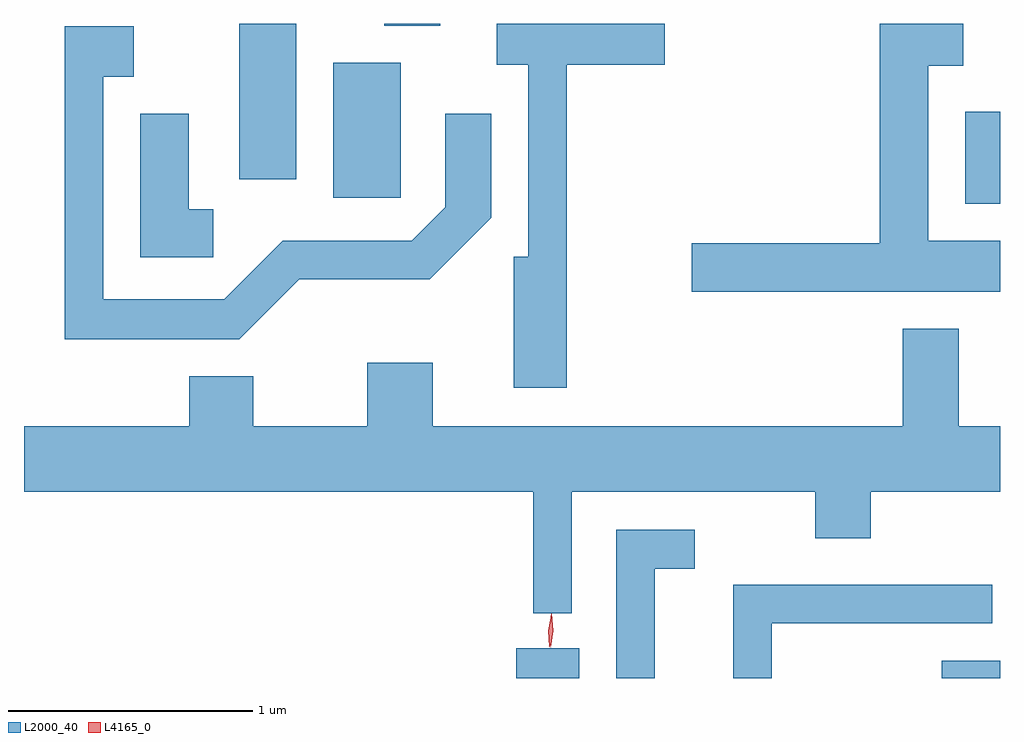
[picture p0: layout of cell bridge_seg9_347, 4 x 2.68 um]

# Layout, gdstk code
import gdstk
lib = gdstk.Library(unit=1e-6, precision=1e-09)
def R(c, l, rs):  # rectangles x0, y0, x1, y1
    for r in rs: c.add(gdstk.rectangle(r[:2], r[2:], *l))
def P(c, l, *ps):  # polygons
    for p in ps: c.add(gdstk.Polygon(p, *l))
L2000_40 = (2000, 40)
L4165_0 = (4165, 0)

bridge_seg9_347 = lib.new_cell('bridge_seg9_347')
R(bridge_seg9_347, L2000_40, [(757.336,1944.432,757.594,1944.554), (759.081,1944.432,759.319,1944.504), (759.176,1946.376,759.319,1946.754), (756.586,1946.401,756.864,1946.954), (756.201,1946.476,756.434,1947.113), (756.796,1947.106,757.024,1947.113)])
P(bridge_seg9_347, L2000_40, [(757.544,1946.946),(757.944,1946.946),(757.944,1947.113),(757.256,1947.113),(757.256,1946.946),(757.386,1946.946),(757.386,1946.159),(757.326,1946.159),(757.326,1945.621),(757.544,1945.621)],
  [(759.319,1946.224),(759.024,1946.224),(759.024,1946.941),(759.169,1946.941),(759.169,1947.113),(758.826,1947.113),(758.826,1946.214),(758.056,1946.214),(758.056,1946.016),(759.319,1946.016)],
  [(756.447,1946.066),(756.982,1946.066),(757.234,1946.319),(757.234,1946.744),(757.046,1946.744),(757.046,1946.362),(756.909,1946.224),(756.379,1946.224),(756.139,1945.984),(755.644,1945.984),(755.644,1946.896),(755.769,1946.896),(755.769,1947.104),(755.486,1947.104),(755.486,1945.821),(756.202,1945.821)],
  [(756.094,1946.354),(755.994,1946.354),(755.994,1946.744),(755.796,1946.744),(755.796,1946.156),(756.094,1946.156)],
  [(757.564,1945.196),(758.561,1945.196),(758.561,1945.006),(758.789,1945.006),(758.789,1945.196),(759.319,1945.196),(759.319,1945.464),(759.149,1945.464),(759.149,1945.864),(758.921,1945.864),(758.921,1945.464),(756.994,1945.464),(756.994,1945.724),(756.726,1945.724),(756.726,1945.464),(756.259,1945.464),(756.259,1945.669),(755.996,1945.669),(755.996,1945.464),(755.319,1945.464),(755.319,1945.196),(757.406,1945.196),(757.406,1944.698),(757.564,1944.698)],
  [(757.904,1944.881),(758.068,1944.881),(758.068,1945.039),(757.746,1945.039),(757.746,1944.432),(757.904,1944.432)],
  [(758.384,1944.656),(759.288,1944.656),(759.288,1944.814),(758.226,1944.814),(758.226,1944.432),(758.384,1944.432)])
P(bridge_seg9_347, L4165_0, [(757.477,1944.558),(757.47,1944.627),(757.48,1944.695),(757.481,1944.695),(757.481,1944.695),(757.489,1944.626),(757.478,1944.558),(757.478,1944.558)],
  [(757.472,1944.561),(757.467,1944.627),(757.48,1944.692),(757.481,1944.692),(757.481,1944.692),(757.487,1944.626),(757.474,1944.561),(757.473,1944.561)])

lib.write_gds('bridge_seg9_347.gds')
